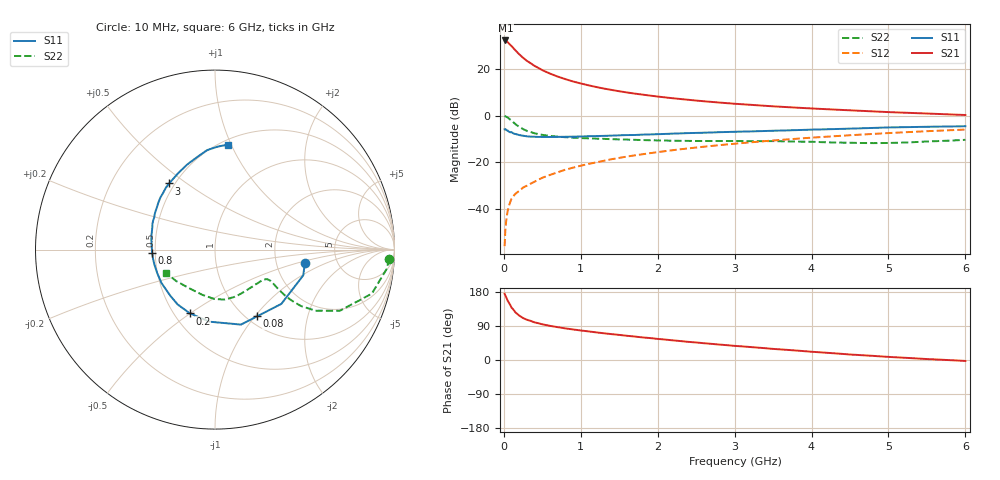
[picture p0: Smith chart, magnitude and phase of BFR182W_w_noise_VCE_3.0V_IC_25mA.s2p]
! Infineon Technologies  Discrete & RF Semiconductors
! BFR182W
! VCE =  3.0 V,  IC =  25 mA
! Common Emitter S-Parameters:  Jan 2017
# GHz  S  MA  R  50
!  f  S11  S21  S12  S22
! GHz  MAG  ANG  MAG  ANG  MAG  ANG  MAG  ANG
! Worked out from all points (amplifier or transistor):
!   77 points, 10 MHz to 6 GHz, reference 50 ohm
!   highest |S21| = 32.1 dB at 20 MHz (marker M1)
!   |S21| within 3 dB of that: start of sweep to 116.8 MHz
!   unconditionally stable (mu >= 1): 656.5 MHz to 2.278 GHz
!   at 130 MHz: K = 0.47, MSG = 31.5 dB, |S12| = -34.3 dB
!   at 2.2 GHz: K = 1.01, MAG = 10.6 dB, |S12| = -14.8 dB
!   at 6 GHz: K = 0.87, MSG = 3.1 dB, |S12| = -6.0 dB
!   lowest NFmin = 1.56 dB at 450 MHz
!   S11 on the Smith chart (normalised r, x): 10 MHz: 2.93, -0.57; 80 MHz: 1.12, -1.03; 200 MHz: 0.60, -0.50; 800 MHz: 0.48, -0.02; 3 GHz: 0.47, +0.43; 6 GHz: 0.54, +0.97
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0.01  0.5063 -8.2  40.12 174.8  0.0016 86.0  0.9728 -3.0
0.02  0.5121 -16.3  40.37 170.1  0.0036 89.5  0.9623 -6.5
0.05  0.4776 -39.3  37.13 156.3  0.0091 76.2  0.9076 -15.7
0.08  0.4396 -57.7  32.85 146.3  0.0136 71.7  0.8246 -21.5
0.1  0.4422 -70.9  30.68 138.2  0.0166 70.0  0.7748 -26.1
0.15  0.4028 -94.4  24.85 125.8  0.0211 64.4  0.6555 -31.3
0.2  0.3819 -111.4  20.43 117.2  0.0244 64.0  0.5712 -33.3
0.25  0.3697 -124.3  17.22 110.7  0.0287 63.5  0.512 -33.6
0.3  0.3582 -133.8  14.75 106.2  0.0315 64.9  0.4686 -33.3
0.4  0.3515 -147.9  11.49 99.2  0.0384 66.5  0.4161 -32.0
0.5  0.3476 -158.0  9.346 94.2  0.0465 68.4  0.3854 -30.7
0.6  0.3477 -165.6  7.888 90.1  0.0535 69.2  0.3662 -29.8
0.7  0.3491 -171.8  6.808 86.7  0.061 70.7  0.3525 -29.3
0.8  0.3509 -177.3  5.999 83.4  0.0694 71.4  0.3432 -29.4
1.1  0.3602 170.0  4.429 75.5  0.092 71.4  0.3248 -30.8
1.5  0.3767 157.8  3.305 66.2  0.124 70.4  0.308 -35.4
2.1  0.4038 142.6  2.44 53.8  0.173 67.3  0.2908 -46.8
3  0.4486 124.8  1.786 37.3  0.2489 60.7  0.2848 -68.2
3.1  0.4524 122.9  1.741 35.9  0.2574 59.8  0.2837 -70.4
4.1  0.5031 106.7  1.389 20.4  0.344 50.8  0.2704 -94.1
5.1  0.5593 93.2  1.166 7.1  0.4288 40.7  0.2607 -127.4
6  0.5895 83.0  1.025 -2.5  0.5001 31.2  0.3019 -154.7
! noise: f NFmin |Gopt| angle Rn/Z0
0.45  1.56  0.16  -169  0.15
0.9  1.65  0.17  -163  0.16
1.9  2.18  0.33  -138  0.18
2.4  2.46  0.34  -127  0.29
